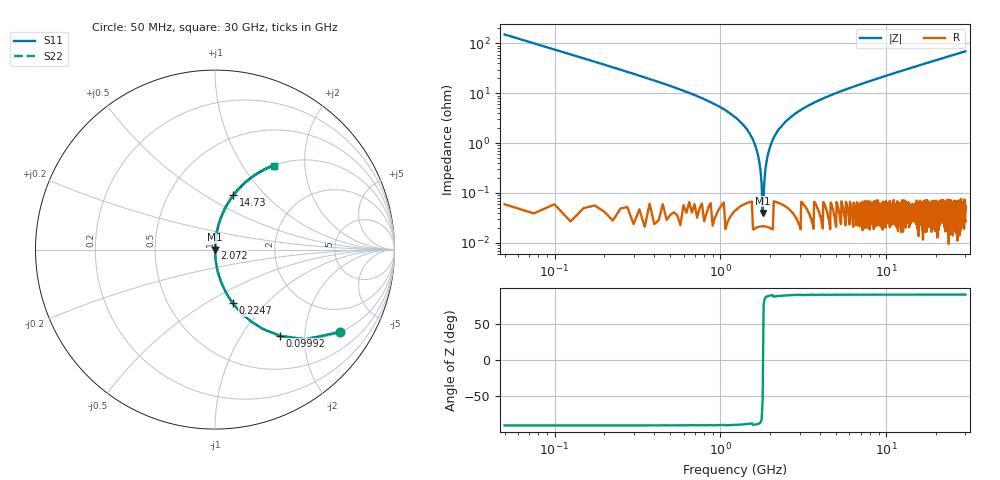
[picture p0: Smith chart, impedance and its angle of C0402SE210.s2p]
!	AVX Thin Film Operation 	Date: April 2014
!	Description: Accu-P® Series, Thin Film  SMD RF Capacitor
!	Part Number: 04023K210FBSTR
# MHZ S MA R 50
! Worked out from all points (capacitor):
!   1201 points, 50 MHz to 30 GHz, reference 50 ohm
!   read as one part in series: C = 21 pF near 199.8 MHz
!   lowest |Z| = 39.7 mohm at 1.797 GHz (marker M1)
!   series resonance near 1.804 GHz, so ESL is about 370 pH
!   S11 on the Smith chart (normalised r, x): 50 MHz: 1.00, -3.03; 99.92 MHz: 1.00, -1.51; 224.7 MHz: 1.00, -0.66; 2.072 GHz: 1.00, +0.02; 14.73 GHz: 1.00, +0.68; 30 GHz: 1.00, +1.39
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50  0.834 -33.4  0.551 56.6  0.551 56.6  0.834 -33.4
99.917  0.603 -52.9  0.797 37.1  0.797 37.1  0.603 -52.9
224.708  0.315 -71.6  0.949 18.4  0.949 18.4  0.315 -71.6
349.5  0.204 -78.1  0.979 11.8  0.979 11.8  0.204 -78.1
574.125  0.118 -83.0  0.993 6.8  0.993 6.8  0.118 -83.0
1397.75  0.022 -87.6  0.999 1.2  0.999 1.2  0.022 -87.6
1572.458  0.012 -87.2  1 0.7  1 0.7  0.012 -87.2
1697.25  0.005157 -84.9  1 0.3  1 0.3  0.005157 -84.9
1797.083  0.0005461 -38.1  1 0.0  1 0.0  0.0005461 -38.1
1921.875  0.005322 85.1  1 -0.3  1 -0.3  0.005322 85.1
1996.75  0.008535 86.6  1 -0.5  1 -0.5  0.008535 86.6
2071.625  0.012 87.2  1 -0.7  1 -0.7  0.012 87.2
2371.125  0.023 87.6  0.999 -1.3  0.999 -1.3  0.023 87.6
2920.208  0.042 87.0  0.999 -2.4  0.999 -2.4  0.042 87.0
3768.792  0.067 85.8  0.997 -3.9  0.997 -3.9  0.067 85.8
5041.667  0.102 83.9  0.994 -5.8  0.994 -5.8  0.102 83.9
10058.29  0.221 77.1  0.975 -12.8  0.975 -12.8  0.221 77.1
14725.5  0.32 71.3  0.947 -18.6  0.947 -18.6  0.32 71.3
15025  0.326 70.9  0.945 -19.0  0.945 -19.0  0.326 70.9
20016.67  0.419 65.2  0.907 -24.8  0.907 -24.8  0.419 65.2
25033.29  0.501 59.9  0.865 -30.1  0.865 -30.1  0.501 59.9
30000  0.571 55.1  0.821 -34.8  0.821 -34.8  0.571 55.1
